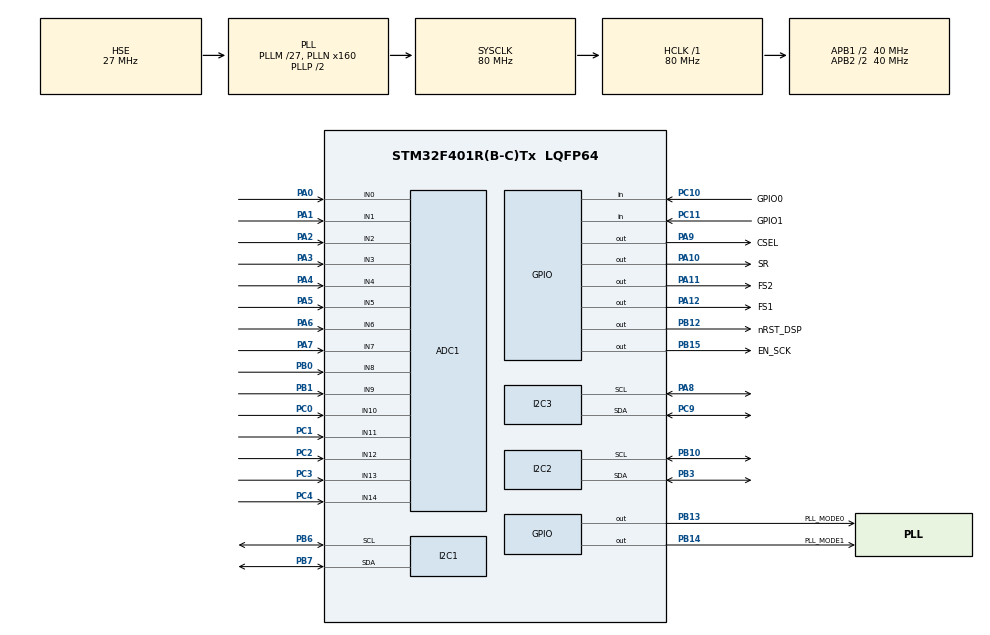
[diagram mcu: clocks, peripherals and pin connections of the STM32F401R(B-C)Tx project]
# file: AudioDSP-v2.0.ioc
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ADC1.Channel-0\#ChannelRegularConversion=ADC_CHANNEL_0
ADC1.Channel-1\#ChannelRegularConversion=ADC_CHANNEL_1
ADC1.Channel-10\#ChannelRegularConversion=ADC_CHANNEL_10
ADC1.Channel-11\#ChannelRegularConversion=ADC_CHANNEL_11
ADC1.Channel-12\#ChannelRegularConversion=ADC_CHANNEL_12
ADC1.Channel-13\#ChannelRegularConversion=ADC_CHANNEL_13
ADC1.Channel-14\#ChannelRegularConversion=ADC_CHANNEL_14
ADC1.Channel-2\#ChannelRegularConversion=ADC_CHANNEL_2
ADC1.Channel-3\#ChannelRegularConversion=ADC_CHANNEL_3
ADC1.Channel-4\#ChannelRegularConversion=ADC_CHANNEL_4
ADC1.Channel-5\#ChannelRegularConversion=ADC_CHANNEL_5
ADC1.Channel-6\#ChannelRegularConversion=ADC_CHANNEL_6
ADC1.Channel-7\#ChannelRegularConversion=ADC_CHANNEL_7
ADC1.Channel-8\#ChannelRegularConversion=ADC_CHANNEL_8
ADC1.Channel-9\#ChannelRegularConversion=ADC_CHANNEL_9
ADC1.EOCSelection=ADC_EOC_SEQ_CONV
ADC1.ExternalTrigConv=ADC_EXTERNALTRIGCONV_T2_TRGO
ADC1.NbrOfConversion=15
ADC1.NbrOfConversionFlag=1
ADC1.Rank-0\#ChannelRegularConversion=1
ADC1.Rank-1\#ChannelRegularConversion=2
ADC1.Rank-10\#ChannelRegularConversion=11
ADC1.Rank-11\#ChannelRegularConversion=12
ADC1.Rank-12\#ChannelRegularConversion=13
ADC1.Rank-13\#ChannelRegularConversion=14
ADC1.Rank-14\#ChannelRegularConversion=15
ADC1.Rank-2\#ChannelRegularConversion=3
ADC1.Rank-3\#ChannelRegularConversion=4
ADC1.Rank-4\#ChannelRegularConversion=5
ADC1.Rank-5\#ChannelRegularConversion=6
ADC1.Rank-6\#ChannelRegularConversion=7
ADC1.Rank-7\#ChannelRegularConversion=8
ADC1.Rank-8\#ChannelRegularConversion=9
ADC1.Rank-9\#ChannelRegularConversion=10
ADC1.SamplingTime-0\#ChannelRegularConversion=ADC_SAMPLETIME_15CYCLES
ADC1.SamplingTime-1\#ChannelRegularConversion=ADC_SAMPLETIME_15CYCLES
ADC1.SamplingTime-10\#ChannelRegularConversion=ADC_SAMPLETIME_15CYCLES
ADC1.SamplingTime-11\#ChannelRegularConversion=ADC_SAMPLETIME_15CYCLES
ADC1.SamplingTime-12\#ChannelRegularConversion=ADC_SAMPLETIME_15CYCLES
ADC1.SamplingTime-13\#ChannelRegularConversion=ADC_SAMPLETIME_15CYCLES
ADC1.SamplingTime-14\#ChannelRegularConversion=ADC_SAMPLETIME_15CYCLES
ADC1.SamplingTime-2\#ChannelRegularConversion=ADC_SAMPLETIME_15CYCLES
ADC1.SamplingTime-3\#ChannelRegularConversion=ADC_SAMPLETIME_15CYCLES
ADC1.SamplingTime-4\#ChannelRegularConversion=ADC_SAMPLETIME_15CYCLES
ADC1.SamplingTime-5\#ChannelRegularConversion=ADC_SAMPLETIME_15CYCLES
ADC1.SamplingTime-6\#ChannelRegularConversion=ADC_SAMPLETIME_15CYCLES
ADC1.SamplingTime-7\#ChannelRegularConversion=ADC_SAMPLETIME_15CYCLES
ADC1.SamplingTime-8\#ChannelRegularConversion=ADC_SAMPLETIME_15CYCLES
ADC1.SamplingTime-9\#ChannelRegularConversion=ADC_SAMPLETIME_15CYCLES
ADC1.ScanConvMode=ENABLE
ADC1.master=1
Dma.ADC1.0.Direction=DMA_PERIPH_TO_MEMORY
Dma.ADC1.0.FIFOMode=DMA_FIFOMODE_DISABLE
Dma.ADC1.0.Instance=DMA2_Stream0
Dma.ADC1.0.MemDataAlignment=DMA_MDATAALIGN_WORD
Dma.ADC1.0.MemInc=DMA_MINC_ENABLE
Dma.ADC1.0.Mode=DMA_CIRCULAR
Dma.ADC1.0.PeriphDataAlignment=DMA_PDATAALIGN_WORD
Dma.ADC1.0.PeriphInc=DMA_PINC_DISABLE
Dma.ADC1.0.Priority=DMA_PRIORITY_LOW
Dma.Request0=ADC1
I2C1.I2C_Mode=I2C_Fast
I2C2.I2C_Mode=I2C_Fast
Mcu.Family=STM32F4
Mcu.Name=STM32F401R(B-C)Tx
Mcu.Package=LQFP64
NVIC.DMA2_Stream0_IRQn=true\:0\:0\:false\:false\:true\:false\:true
NVIC.PriorityGroup=NVIC_PRIORITYGROUP_4
PA0-WKUP.Signal=ADCx_IN0
PA1.Signal=ADCx_IN1
PA10.GPIO_Label=SR
PA10.GPIO_ModeDefaultOutputPP=GPIO_MODE_OUTPUT_OD
PA10.GPIO_PuPd=GPIO_PULLUP
PA10.GPIO_Speed=GPIO_SPEED_FREQ_HIGH
PA10.Signal=GPIO_Output
PA11.GPIO_Label=FS2
PA11.GPIO_ModeDefaultOutputPP=GPIO_MODE_OUTPUT_OD
PA11.GPIO_PuPd=GPIO_PULLUP
PA11.GPIO_Speed=GPIO_SPEED_FREQ_HIGH
PA11.Signal=GPIO_Output
PA12.GPIO_Label=FS1
PA12.GPIO_ModeDefaultOutputPP=GPIO_MODE_OUTPUT_OD
PA12.GPIO_PuPd=GPIO_PULLUP
PA12.GPIO_Speed=GPIO_SPEED_FREQ_HIGH
PA12.Signal=GPIO_Output
PA13.GPIO_Label=SWDIO
PA13.Mode=Serial_Wire
PA13.Signal=SYS_JTMS-SWDIO
PA14.GPIO_Label=SWCLK
PA14.Mode=Serial_Wire
PA14.Signal=SYS_JTCK-SWCLK
PA2.Signal=ADCx_IN2
PA3.Signal=ADCx_IN3
PA4.Signal=ADCx_IN4
PA5.Signal=ADCx_IN5
PA6.Signal=ADCx_IN6
PA7.Signal=ADCx_IN7
PA8.Mode=I2C
PA8.Signal=I2C3_SCL
PA9.GPIO_Label=CSEL
PA9.GPIO_ModeDefaultOutputPP=GPIO_MODE_OUTPUT_OD
PA9.GPIO_PuPd=GPIO_PULLUP
PA9.GPIO_Speed=GPIO_SPEED_FREQ_HIGH
PA9.Signal=GPIO_Output
PB0.Signal=ADCx_IN8
PB1.Signal=ADCx_IN9
PB10.Mode=I2C
PB10.Signal=I2C2_SCL
PB12.GPIO_Label=nRST_DSP
PB12.GPIO_ModeDefaultOutputPP=GPIO_MODE_OUTPUT_OD
PB12.GPIO_PuPd=GPIO_PULLUP
PB12.GPIO_Speed=GPIO_SPEED_FREQ_HIGH
PB12.PinState=GPIO_PIN_SET
PB12.Signal=GPIO_Output
PB13.GPIO_Label=PLL_MODE0
PB13.GPIO_ModeDefaultOutputPP=GPIO_MODE_OUTPUT_OD
PB13.GPIO_PuPd=GPIO_PULLUP
PB13.GPIO_Speed=GPIO_SPEED_FREQ_HIGH
PB13.Signal=GPIO_Output
PB14.GPIO_Label=PLL_MODE1
PB14.GPIO_ModeDefaultOutputPP=GPIO_MODE_OUTPUT_OD
PB14.GPIO_PuPd=GPIO_PULLUP
PB14.GPIO_Speed=GPIO_SPEED_FREQ_HIGH
PB14.PinState=GPIO_PIN_RESET
PB14.Signal=GPIO_Output
PB15.GPIO_Label=EN_SCK
PB15.GPIO_ModeDefaultOutputPP=GPIO_MODE_OUTPUT_OD
PB15.GPIO_PuPd=GPIO_PULLUP
PB15.GPIO_Speed=GPIO_SPEED_FREQ_HIGH
PB15.Signal=GPIO_Output
PB3.Mode=I2C
PB3.Signal=I2C2_SDA
PB6.Mode=I2C
PB6.Signal=I2C1_SCL
PB7.Mode=I2C
PB7.Signal=I2C1_SDA
PC0.Signal=ADCx_IN10
PC1.Signal=ADCx_IN11
PC10.GPIO_Label=GPIO0
PC10.GPIO_PuPd=GPIO_PULLUP
PC10.Signal=GPIO_Input
PC11.GPIO_Label=GPIO1
PC11.GPIO_PuPd=GPIO_PULLUP
PC11.Signal=GPIO_Input
PC2.Signal=ADCx_IN12
PC3.Signal=ADCx_IN13
PC4.Signal=ADCx_IN14
PC9.Mode=I2C
PC9.Signal=I2C3_SDA
PH0\ -\ OSC_IN.GPIO_Label=CLK_IN
PH0\ -\ OSC_IN.Mode=HSE-External-Clock-Source
PH0\ -\ OSC_IN.Signal=RCC_OSC_IN
PH1\ -\ OSC_OUT.Mode=HSE-External-Clock-Source
PH1\ -\ OSC_OUT.Signal=RCC_OSC_OUT
ProjectManager.HeapSize=0x200
ProjectManager.StackSize=0x400
ProjectManager.TargetToolchain=STM32CubeIDE
RCC.48MHZClocksFreq_Value=40000000
RCC.AHBFreq_Value=80000000
RCC.APB1CLKDivider=RCC_HCLK_DIV2
RCC.APB1Freq_Value=40000000
RCC.APB1TimFreq_Value=80000000
RCC.APB2CLKDivider=RCC_HCLK_DIV2
RCC.APB2Freq_Value=40000000
RCC.APB2TimFreq_Value=80000000
RCC.CortexFreq_Value=80000000
RCC.HCLKFreq_Value=80000000
RCC.HSE_VALUE=27000000
RCC.HSI_VALUE=16000000
RCC.LSE_VALUE=32768
RCC.PLLM=27
RCC.PLLN=160
RCC.PLLSourceVirtual=RCC_PLLSOURCE_HSE
RCC.SYSCLKFreq_VALUE=80000000
RCC.SYSCLKSource=RCC_SYSCLKSOURCE_PLLCLK
RCC.VCOOutputFreq_Value=160000000
SH.ADCx_IN0.0=ADC1_IN0,IN0
SH.ADCx_IN1.0=ADC1_IN1,IN1
SH.ADCx_IN10.0=ADC1_IN10,IN10
SH.ADCx_IN11.0=ADC1_IN11,IN11
SH.ADCx_IN12.0=ADC1_IN12,IN12
SH.ADCx_IN13.0=ADC1_IN13,IN13
SH.ADCx_IN14.0=ADC1_IN14,IN14
SH.ADCx_IN2.0=ADC1_IN2,IN2
SH.ADCx_IN3.0=ADC1_IN3,IN3
SH.ADCx_IN4.0=ADC1_IN4,IN4
SH.ADCx_IN5.0=ADC1_IN5,IN5
SH.ADCx_IN6.0=ADC1_IN6,IN6
SH.ADCx_IN7.0=ADC1_IN7,IN7
SH.ADCx_IN8.0=ADC1_IN8,IN8
SH.ADCx_IN9.0=ADC1_IN9,IN9
TIM2.Period=1000-1
TIM2.Prescaler=8000
TIM2.TIM_MasterOutputTrigger=TIM_TRGO_UPDATE
VP_TIM2_VS_ClockSourceINT.Mode=Internal
board=custom

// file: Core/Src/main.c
/* USER CODE BEGIN Header */
/**
  ******************************************************************************
  * @file           : main.c
  * @brief          : Main program body
  ******************************************************************************
  * @attention
  *
  * <h2><center>&copy; Copyright (c) 2023 STMicroelectronics.
  * All rights reserved.</center></h2>
  *
  * This software component is licensed by ST under BSD 3-Clause license,
  * the "License"; You may not use this file except in compliance with the
  * License. You may obtain a copy of the License at:
  *                        opensource.org/licenses/BSD-3-Clause
  *
  ******************************************************************************
  */
/* USER CODE END Header */
#include "main.h"

/* USER CODE BEGIN Includes */
#include "DSP/SigmaStudioFW.h"

#include "DSP/DSP1/DSP1_IC_1.h"
#include "DSP/DSP1/DSP1_IC_1_PARAM.h"

#include "DSP/DSP2/DSP2_IC_2.h"
#include "DSP/DSP2/DSP2_IC_2_PARAM.h"

#include "math.h"
/* USER CODE END Includes */

/* USER CODE BEGIN PD */
#define ADC_POT 12
#define DAC_ADDR 0x98
/* USER CODE END PD */

ADC_HandleTypeDef hadc1;
DMA_HandleTypeDef hdma_adc1;

I2C_HandleTypeDef hi2c1;
I2C_HandleTypeDef hi2c2;
I2C_HandleTypeDef hi2c3;

TIM_HandleTypeDef htim2;

/* USER CODE BEGIN PV */
HAL_StatusTypeDef stat;

uint8_t auxData[2];

uint32_t value[ADC_POT]; // To store ADC values
uint16_t pote[ADC_POT];  // Potentiometer values 0-29
uint16_t log_in_table[30];
uint16_t linear_in_table[30];
uint16_t flag[ADC_POT];  // Flag for different potentiometers

ADI_REG_TYPE aux[4];
/* USER CODE END PV */

void SystemClock_Config(void);
static void MX_GPIO_Init(void);
static void MX_I2C1_Init(void);
static void MX_I2C2_Init(void);
static void MX_I2C3_Init(void);
static void MX_ADC1_Init(void);
static void MX_DMA_Init(void);
static void MX_TIM2_Init(void);
/* USER CODE BEGIN PFP */
void HAL_ADC_ConvCpltCallback(ADC_HandleTypeDef* hadc);
/* USER CODE END PFP */

int main(void)
{
  /* USER CODE BEGIN 1 */
	  uint16_t k = 0;
	  uint16_t pote_aux = 0;
	  uint16_t BandAddress[ADC_POT+1]; // Addresses of filters
	  uint32_t vol_data[30]; // Fixed volume values
	  uint32_t boost_data[30]; // Fixed boost loudness values

	  BandAddress[0] = MOD_BAND32_SEL_DCINPALG1_ADDR;
	  BandAddress[1] = MOD_BAND64_SEL_DCINPALG6_ADDR;
	  BandAddress[2] = MOD_BAND128_SEL_DCINPALG4_ADDR;
	  BandAddress[3] = MOD_BAND256_SEL_DCINPALG2_ADDR;
	  BandAddress[4] = MOD_LOUDNESSLHEXT1_ALG0_LEVEL0_ADDR;
	  BandAddress[5] = MOD_LOUDNESSLHEXT1_ALG0_LEVEL1_ADDR;
	  BandAddress[6] = MOD_BAND2K_SEL_DCINPALG6_ADDR;
	  BandAddress[7] = MOD_BAND4K_SEL_DCINPALG4_ADDR;
	  BandAddress[8] = MOD_BAND8K_SEL_DCINPALG2_ADDR;
	  BandAddress[9] = MOD_LOUD_DCINPALG5_ADDR;
	  BandAddress[10] = MOD_BANDSUB_SEL_DCINPALG3_ADDR;
	  BandAddress[11] = MOD_VOL_ALG0_TARGET_ADDR;

	  vol_data[29] = 0x00800000; // 0dB
	  vol_data[28] = 0x00721482; // -1dB
	  vol_data[27] = 0x0065AC8C; // -2dB
	  vol_data[26] = 0x005A9DF7; // -3dB
	  vol_data[25] = 0x0050C335; // -4dB
	  vol_data[24] = 0x0047FACC; // -5dB
	  vol_data[23] = 0x004026E7; // -6dB
	  vol_data[22] = 0x0037DFC0; // -7dB (-7.2dB)
	  vol_data[21] = 0x0032F52C; // -8dB
	  vol_data[20] = 0x002D6A86; // -9dB
	  vol_data[19] = 0x00287A26; // -10dB
	  vol_data[18] = 0x00241346; // -11dB
	  vol_data[17] = 0x002026F3; // -12dB
	  vol_data[16] = 0x001CA7D7; // -13dB
	  vol_data[15] = 0x00198A13; // -14dB
	  vol_data[14] = 0x0016C310; // -15dB
	  vol_data[13] = 0x00144960; // -16dB
	  vol_data[12] = 0x0012149A; // -17dB
	  vol_data[11] = 0x00101D3F; // -18dB
	  vol_data[10] = 0x000E5CA1; // -19dB
	  vol_data[9] = 0x000CCCCC; // -20dB
	  vol_data[8] = 0x000B6873; // -21dB
	  vol_data[7] = 0x000A2ADA; // -22dB
	  vol_data[6] = 0x00090FCB; // -23dB
	  vol_data[5] = 0x00081385; // -24dB
	  vol_data[4] = 0x000732AE; // -25dB
	  vol_data[3] = 0x00066A4A; // -26dB
	  vol_data[2] = 0x0005B7B1; // -27dB
	  vol_data[1] = 0x00051884; // -28dB
	  vol_data[0] = 0x00048AA7; // -29dB

	  boost_data[29] = 0x01400000; // 2.50
	  boost_data[28] = 0x01333333; // 2.40
	  boost_data[27] = 0x012B851E; // 2.34
	  boost_data[26] = 0x01228F5C; // 2.27
	  boost_data[25] = 0x01199999; // 2.20
	  boost_data[24] = 0x0110A3D7; // 2.13
	  boost_data[23] = 0x0107AE14; // 2.06
	  boost_data[22] = 0x01000000; // 2.00
	  boost_data[21] = 0x00F70A3D; // 1.93
	  boost_data[20] = 0x00EE147A; // 1.86
	  boost_data[19] = 0x00E51EB8; // 1.79
	  boost_data[18] = 0x00DC28F5; // 1.72
	  boost_data[17] = 0x00D47AE1; // 1.66
	  boost_data[16] = 0x00CB851E; // 1.59
	  boost_data[15] = 0x00C28F5C; // 1.52
	  boost_data[14] = 0x00B99999; // 1.45
	  boost_data[13] = 0x00B0A3D7; // 1.38
	  boost_data[12] = 0x00A8F5C2; // 1.32
	  boost_data[11] = 0x00A00000; // 1.25
	  boost_data[10] = 0x00970A3D; // 1.18
	  boost_data[9] =  0x008E147A; // 1.11
	  boost_data[8] =  0x00851EB8; // 1.04
	  boost_data[7] =  0x007D70A3; // 0.98
	  boost_data[6] =  0x00747AE1; // 0.91
	  boost_data[5] =  0x006B851E; // 0.84
	  boost_data[4] =  0x00628F5C; // 0.77
	  boost_data[3] =  0x00599999; // 0.70
	  boost_data[2] =  0x0051EB85; // 0.64
	  boost_data[1] =  0x0048F5C2; // 0.57
	  boost_data[0] =  0x00400000; // 0.50

	  for(k=0; k<30; k++)
	  {
		  log_in_table[k] = 4096.0*log10(1.0+(3.0*k/10.0));
		  linear_in_table[k] = 4096*k/30;
	  }
  /* USER CODE END 1 */

  /* MCU Configuration--------------------------------------------------------*/

  /* Reset of all peripherals, Initializes the Flash interface and the Systick. */
  HAL_Init();

  /* Configure the system clock */
  SystemClock_Config();

  /* USER CODE BEGIN SysInit */
//  - Keeping this just to remember order
//  MX_GPIO_Init();
//  MX_I2C1_Init();
//  MX_DMA_Init();
//  MX_I2C2_Init();
//  MX_ADC1_Init();
//  MX_I2C3_Init();
//  MX_TIM2_Init();
  /* USER CODE END SysInit */

  /* Initialize all configured peripherals */
  MX_GPIO_Init();
  MX_I2C1_Init();
  MX_I2C2_Init();
  MX_I2C3_Init();

  MX_DMA_Init();
  MX_ADC1_Init();

  MX_TIM2_Init();
  /* USER CODE BEGIN 2 */

  // Disable DSP
  HAL_GPIO_WritePin(nRST_DSP_GPIO_Port, nRST_DSP_Pin, GPIO_PIN_RESET);

  // Disable CLK
  HAL_GPIO_WritePin(EN_SCK_GPIO_Port, EN_SCK_Pin, GPIO_PIN_RESET);

  // Configure Sampling Rate SR = Standard => 0
  HAL_GPIO_WritePin(SR_GPIO_Port, SR_Pin, GPIO_PIN_RESET);
  // Configure System Clock SCKO1 CSEL = 0 (default)
  HAL_GPIO_WritePin(CSEL_GPIO_Port, CSEL_Pin, GPIO_PIN_RESET);
  // Configure Sampling Frequency Group = 32KHz => 10
  HAL_GPIO_WritePin(FS2_GPIO_Port, FS2_Pin, GPIO_PIN_SET);
  HAL_GPIO_WritePin(FS1_GPIO_Port, FS1_Pin, GPIO_PIN_RESET);

  // Configure PLL Mode
  // 256 x 48KHz = 12.288MHz => 01
  HAL_GPIO_WritePin(PLL_MODE0_GPIO_Port, PLL_MODE0_Pin, GPIO_PIN_RESET);
  HAL_GPIO_WritePin(PLL_MODE1_GPIO_Port, PLL_MODE1_Pin, GPIO_PIN_SET);

  // Enable CLK
  HAL_GPIO_WritePin(EN_SCK_GPIO_Port, EN_SCK_Pin, GPIO_PIN_SET);

  HAL_Delay(500);

  // Configure DAC format to I2S 16-24 bit
  auxData[0] = 0x24;
  auxData[1] = 0x00;
  stat = HAL_I2C_Mem_Write(&hi2c3, DAC_ADDR, 0x09, 1, auxData, 1, 1000);

  // Enable DSP
  HAL_GPIO_WritePin(nRST_DSP_GPIO_Port, nRST_DSP_Pin, GPIO_PIN_SET);

  HAL_Delay(500);

  default_download_IC_1();
  HAL_Delay(500);
  default_download_IC_2();
  HAL_Delay(500);

  HAL_TIM_Base_Start(&htim2);
  HAL_ADC_Start_DMA(&hadc1, value, ADC_POT);

  HAL_Delay(250);

  for(k=0; k<ADC_POT; k++)
  {
	  pote[k] = 14;
	  flag[k] = 1;
  }
  aux[0] = 0x00;
  aux[1] = 0x00;
  aux[2] = 0x00;
  aux[3] = 0x00;

  for(k=0; k<4; k++) // Filters 32Hz - 512Hz
  {
	  SIGMA_WRITE_REGISTER_BLOCK(DEVICE_ADDR_IC_1, BandAddress[k], 4, aux);
  }
  for(k=6; k<(ADC_POT-3); k++) // Filters 1KHz - 16KHz
  {
      SIGMA_WRITE_REGISTER_BLOCK(DEVICE_ADDR_IC_2, BandAddress[k], 4, aux);
  }
  SIGMA_WRITE_REGISTER_BLOCK(DEVICE_ADDR_IC_1, BandAddress[ADC_POT-2], 4, aux); // Subwoofer
  SIGMA_WRITE_REGISTER_BLOCK(DEVICE_ADDR_IC_1, BandAddress[ADC_POT-1], 4, aux); // Volume

  HAL_Delay(250);
  /* USER CODE END 2 */

  /* Infinite loop */
  while (1)
  {

    /* USER CODE BEGIN 3 */
	  aux[0] = 0x00;
	  aux[1] = 0x00;
	  aux[2] = 0x00;

	  for(k=0; k<4; k++) // Filters 32Hz - 512Hz
	  {
		  if(flag[k] == 1)
		  {
			  flag[k] = 0;
			  aux[3] = 29 - pote[k];
			  SIGMA_WRITE_REGISTER_BLOCK(DEVICE_ADDR_IC_1, BandAddress[k], 4, aux);
		  }
	  }

	  aux[0] = 0x00;
	  aux[1] = 0x00;
	  aux[2] = 0x00;

	  for(k=6; k<(ADC_POT-3); k++) // Filters 1KHz - 16KHz
	  {
		  if(flag[k] == 1)
		  {
			  flag[k] = 0;
			  aux[3] = 29 - pote[k];
			  SIGMA_WRITE_REGISTER_BLOCK(DEVICE_ADDR_IC_2, BandAddress[k], 4, aux);
		  }
	  }

	  aux[0] = 0x00;
	  aux[1] = 0x00;
	  aux[2] = 0x00;

	  if(flag[ADC_POT-2] == 1) // Subwoofer
	  {
		  flag[ADC_POT-2] = 0;
		  aux[3] = 29 - pote[ADC_POT-2];
		  SIGMA_WRITE_REGISTER_BLOCK(DEVICE_ADDR_IC_1, BandAddress[ADC_POT-2], 4, aux);
	  }

	  aux[0] = 0x00;
	  aux[1] = 0x00;
	  aux[2] = 0x00;

	  if(flag[ADC_POT-1] == 1) // Volume
	  {
		  flag[ADC_POT-1] = 0;
		  pote_aux = 29 - pote[ADC_POT-1];
		  aux[3] = 0xFF & (vol_data[pote_aux]);
		  aux[2] = 0xFF & ((vol_data[pote_aux])>>8);
		  aux[1] = 0xFF & ((vol_data[pote_aux])>>16);
		  aux[0] = 0xFF & ((vol_data[pote_aux])>>24);
		  SIGMA_WRITE_REGISTER_BLOCK(DEVICE_ADDR_IC_1, BandAddress[ADC_POT-1], 4, aux);
	  }

	  if(flag[4] == 1) // Loudness Low Boost
	  {
		  flag[4] = 0;
		  pote_aux = 29 - pote[4];
		  aux[3] = 0xFF & (boost_data[pote_aux]);
		  aux[2] = 0xFF & ((boost_data[pote_aux])>>8);
		  aux[1] = 0xFF & ((boost_data[pote_aux])>>16);
		  aux[0] = 0xFF & ((boost_data[pote_aux])>>24);
		  SIGMA_WRITE_REGISTER_BLOCK(DEVICE_ADDR_IC_2, BandAddress[4], 4, aux);
	  }

	  if(flag[5] == 1) // Loudness High Boost
	  {
		  flag[5] = 0;
		  pote_aux = 29 - pote[5];
		  aux[3] = 0xFF & (boost_data[pote_aux]);
		  aux[2] = 0xFF & ((boost_data[pote_aux])>>8);
		  aux[1] = 0xFF & ((boost_data[pote_aux])>>16);
		  aux[0] = 0xFF & ((boost_data[pote_aux])>>24);
		  SIGMA_WRITE_REGISTER_BLOCK(DEVICE_ADDR_IC_2, BandAddress[5], 4, aux);
	  }

	  if(flag[9] == 1) // Loudness
	  {
		  flag[9] = 0;
		  pote_aux = 29 - pote[9];
		  aux[3] = 0xFF & (vol_data[pote_aux]);
		  aux[2] = 0xFF & ((vol_data[pote_aux])>>8);
		  aux[1] = 0xFF & ((vol_data[pote_aux])>>16);
		  aux[0] = 0xFF & ((vol_data[pote_aux])>>24);
		  SIGMA_WRITE_REGISTER_BLOCK(DEVICE_ADDR_IC_2, BandAddress[9], 4, aux);
	  }

  }
  /* USER CODE END 3 */
}

void SystemClock_Config(void)
{
  RCC_OscInitTypeDef RCC_OscInitStruct = {0};
  RCC_ClkInitTypeDef RCC_ClkInitStruct = {0};

  /** Configure the main internal regulator output voltage
  */
  __HAL_RCC_PWR_CLK_ENABLE();
  __HAL_PWR_VOLTAGESCALING_CONFIG(PWR_REGULATOR_VOLTAGE_SCALE2);
  /** Initializes the RCC Oscillators according to the specified parameters
  * in the RCC_OscInitTypeDef structure.
  */
  RCC_OscInitStruct.OscillatorType = RCC_OSCILLATORTYPE_HSE;
  RCC_OscInitStruct.HSEState = RCC_HSE_BYPASS;
  RCC_OscInitStruct.PLL.PLLState = RCC_PLL_ON;
  RCC_OscInitStruct.PLL.PLLSource = RCC_PLLSOURCE_HSE;
  RCC_OscInitStruct.PLL.PLLM = 27;
  RCC_OscInitStruct.PLL.PLLN = 160;
  RCC_OscInitStruct.PLL.PLLP = RCC_PLLP_DIV2;
  RCC_OscInitStruct.PLL.PLLQ = 4;
  if (HAL_RCC_OscConfig(&RCC_OscInitStruct) != HAL_OK)
  {
    Error_Handler();
  }
  /** Initializes the CPU, AHB and APB buses clocks
  */
  RCC_ClkInitStruct.ClockType = RCC_CLOCKTYPE_HCLK|RCC_CLOCKTYPE_SYSCLK
                              |RCC_CLOCKTYPE_PCLK1|RCC_CLOCKTYPE_PCLK2;
  RCC_ClkInitStruct.SYSCLKSource = RCC_SYSCLKSOURCE_PLLCLK;
  RCC_ClkInitStruct.AHBCLKDivider = RCC_SYSCLK_DIV1;
  RCC_ClkInitStruct.APB1CLKDivider = RCC_HCLK_DIV2;
  RCC_ClkInitStruct.APB2CLKDivider = RCC_HCLK_DIV2;

  if (HAL_RCC_ClockConfig(&RCC_ClkInitStruct, FLASH_LATENCY_2) != HAL_OK)
  {
    Error_Handler();
  }
}

static void MX_ADC1_Init(void)
{

  ADC_ChannelConfTypeDef sConfig = {0};

  /** Configure the global features of the ADC (Clock, Resolution, Data Alignment and number of conversion)
  */
  hadc1.Instance = ADC1;
  hadc1.Init.ClockPrescaler = ADC_CLOCK_SYNC_PCLK_DIV2;
  hadc1.Init.Resolution = ADC_RESOLUTION_12B;
  hadc1.Init.ScanConvMode = ENABLE;
  hadc1.Init.ContinuousConvMode = DISABLE;
  hadc1.Init.DiscontinuousConvMode = DISABLE;
  hadc1.Init.ExternalTrigConvEdge = ADC_EXTERNALTRIGCONVEDGE_RISING;
  hadc1.Init.ExternalTrigConv = ADC_EXTERNALTRIGCONV_T2_TRGO;
  hadc1.Init.DataAlign = ADC_DATAALIGN_RIGHT;
  hadc1.Init.NbrOfConversion = 15;
  hadc1.Init.DMAContinuousRequests = DISABLE;
  hadc1.Init.EOCSelection = ADC_EOC_SEQ_CONV;
  if (HAL_ADC_Init(&hadc1) != HAL_OK)
  {
    Error_Handler();
  }
  /** Configure for the selected ADC regular channel its corresponding rank in the sequencer and its sample time.
  */
  sConfig.Channel = ADC_CHANNEL_0;
  sConfig.Rank = 1;
  sConfig.SamplingTime = ADC_SAMPLETIME_15CYCLES;
  if (HAL_ADC_ConfigChannel(&hadc1, &sConfig) != HAL_OK)
  {
    Error_Handler();
  }
  /** Configure for the selected ADC regular channel its corresponding rank in the sequencer and its sample time.
  */
  sConfig.Channel = ADC_CHANNEL_1;
  sConfig.Rank = 2;
  if (HAL_ADC_ConfigChannel(&hadc1, &sConfig) != HAL_OK)
  {
    Error_Handler();
  }
  /** Configure for the selected ADC regular channel its corresponding rank in the sequencer and its sample time.
  */
  sConfig.Channel = ADC_CHANNEL_2;
  sConfig.Rank = 3;
  if (HAL_ADC_ConfigChannel(&hadc1, &sConfig) != HAL_OK)
  {
    Error_Handler();
  }
  /** Configure for the selected ADC regular channel its corresponding rank in the sequencer and its sample time.
  */
  sConfig.Channel = ADC_CHANNEL_3;
  sConfig.Rank = 4;
  if (HAL_ADC_ConfigChannel(&hadc1, &sConfig) != HAL_OK)
  {
    Error_Handler();
  }
  /** Configure for the selected ADC regular channel its corresponding rank in the sequencer and its sample time.
  */
  sConfig.Channel = ADC_CHANNEL_4;
  sConfig.Rank = 5;
  if (HAL_ADC_ConfigChannel(&hadc1, &sConfig) != HAL_OK)
  {
    Error_Handler();
  }
  /** Configure for the selected ADC regular channel its corresponding rank in the sequencer and its sample time.
  */
  sConfig.Channel = ADC_CHANNEL_5;
  sConfig.Rank = 6;
  if (HAL_ADC_ConfigChannel(&hadc1, &sConfig) != HAL_OK)
  {
    Error_Handler();
  }
  /** Configure for the selected ADC regular channel its corresponding rank in the sequencer and its sample time.
  */
  sConfig.Channel = ADC_CHANNEL_6;
  sConfig.Rank = 7;
  if (HAL_ADC_ConfigChannel(&hadc1, &sConfig) != HAL_OK)
  {
    Error_Handler();
  }
  /** Configure for the selected ADC regular channel its corresponding rank in the sequencer and its sample time.
  */
  sConfig.Channel = ADC_CHANNEL_7;
  sConfig.Rank = 8;
  if (HAL_ADC_ConfigChannel(&hadc1, &sConfig) != HAL_OK)
  {
    Error_Handler();
  }
  /** Configure for the selected ADC regular channel its corresponding rank in the sequencer and its sample time.
  */
  sConfig.Channel = ADC_CHANNEL_8;
  sConfig.Rank = 9;
  if (HAL_ADC_ConfigChannel(&hadc1, &sConfig) != HAL_OK)
  {
    Error_Handler();
  }
  /** Configure for the selected ADC regular channel its corresponding rank in the sequencer and its sample time.
  */
  sConfig.Channel = ADC_CHANNEL_9;
  sConfig.Rank = 10;
  if (HAL_ADC_ConfigChannel(&hadc1, &sConfig) != HAL_OK)
  {
    Error_Handler();
  }
  /** Configure for the selected ADC regular channel its corresponding rank in the sequencer and its sample time.
  */
  sConfig.Channel = ADC_CHANNEL_10;
  sConfig.Rank = 11;
  if (HAL_ADC_ConfigChannel(&hadc1, &sConfig) != HAL_OK)
  {
    Error_Handler();
  }
  /** Configure for the selected ADC regular channel its corresponding rank in the sequencer and its sample time.
  */
  sConfig.Channel = ADC_CHANNEL_11;
  sConfig.Rank = 12;
  if (HAL_ADC_ConfigChannel(&hadc1, &sConfig) != HAL_OK)
  {
    Error_Handler();
  }
  /** Configure for the selected ADC regular channel its corresponding rank in the sequencer and its sample time.
  */
  sConfig.Channel = ADC_CHANNEL_12;
  sConfig.Rank = 13;
  if (HAL_ADC_ConfigChannel(&hadc1, &sConfig) != HAL_OK)
  {
    Error_Handler();
  }
  /** Configure for the selected ADC regular channel its corresponding rank in the sequencer and its sample time.
  */
  sConfig.Channel = ADC_CHANNEL_13;
  sConfig.Rank = 14;
  if (HAL_ADC_ConfigChannel(&hadc1, &sConfig) != HAL_OK)
  {
    Error_Handler();
  }
  /** Configure for the selected ADC regular channel its corresponding rank in the sequencer and its sample time.
  */
  sConfig.Channel = ADC_CHANNEL_14;
  sConfig.Rank = 15;
  if (HAL_ADC_ConfigChannel(&hadc1, &sConfig) != HAL_OK)
  {
    Error_Handler();
  }

}

static void MX_I2C1_Init(void)
{

  hi2c1.Instance = I2C1;
  hi2c1.Init.ClockSpeed = 400000;
  hi2c1.Init.DutyCycle = I2C_DUTYCYCLE_2;
  hi2c1.Init.OwnAddress1 = 0;
  hi2c1.Init.AddressingMode = I2C_ADDRESSINGMODE_7BIT;
  hi2c1.Init.DualAddressMode = I2C_DUALADDRESS_DISABLE;
  hi2c1.Init.OwnAddress2 = 0;
  hi2c1.Init.GeneralCallMode = I2C_GENERALCALL_DISABLE;
  hi2c1.Init.NoStretchMode = I2C_NOSTRETCH_DISABLE;
  if (HAL_I2C_Init(&hi2c1) != HAL_OK)
  {
    Error_Handler();
  }

}

static void MX_I2C2_Init(void)
{

  hi2c2.Instance = I2C2;
  hi2c2.Init.ClockSpeed = 400000;
  hi2c2.Init.DutyCycle = I2C_DUTYCYCLE_2;
  hi2c2.Init.OwnAddress1 = 0;
  hi2c2.Init.AddressingMode = I2C_ADDRESSINGMODE_7BIT;
  hi2c2.Init.DualAddressMode = I2C_DUALADDRESS_DISABLE;
  hi2c2.Init.OwnAddress2 = 0;
  hi2c2.Init.GeneralCallMode = I2C_GENERALCALL_DISABLE;
  hi2c2.Init.NoStretchMode = I2C_NOSTRETCH_DISABLE;
  if (HAL_I2C_Init(&hi2c2) != HAL_OK)
  {
    Error_Handler();
  }

}

static void MX_I2C3_Init(void)
{

  hi2c3.Instance = I2C3;
  hi2c3.Init.ClockSpeed = 100000;
  hi2c3.Init.DutyCycle = I2C_DUTYCYCLE_2;
  hi2c3.Init.OwnAddress1 = 0;
  hi2c3.Init.AddressingMode = I2C_ADDRESSINGMODE_7BIT;
  hi2c3.Init.DualAddressMode = I2C_DUALADDRESS_DISABLE;
  hi2c3.Init.OwnAddress2 = 0;
  hi2c3.Init.GeneralCallMode = I2C_GENERALCALL_DISABLE;
  hi2c3.Init.NoStretchMode = I2C_NOSTRETCH_DISABLE;
  if (HAL_I2C_Init(&hi2c3) != HAL_OK)
  {
    Error_Handler();
  }

}

static void MX_TIM2_Init(void)
{

  TIM_ClockConfigTypeDef sClockSourceConfig = {0};
  TIM_MasterConfigTypeDef sMasterConfig = {0};

  htim2.Instance = TIM2;
  htim2.Init.Prescaler = 8000;
  htim2.Init.CounterMode = TIM_COUNTERMODE_UP;
  htim2.Init.Period = 1000-1;
  htim2.Init.ClockDivision = TIM_CLOCKDIVISION_DIV1;
  htim2.Init.AutoReloadPreload = TIM_AUTORELOAD_PRELOAD_DISABLE;
  if (HAL_TIM_Base_Init(&htim2) != HAL_OK)
  {
    Error_Handler();
  }
  sClockSourceConfig.ClockSource = TIM_CLOCKSOURCE_INTERNAL;
  if (HAL_TIM_ConfigClockSource(&htim2, &sClockSourceConfig) != HAL_OK)
  {
    Error_Handler();
  }
  sMasterConfig.MasterOutputTrigger = TIM_TRGO_UPDATE;
  sMasterConfig.MasterSlaveMode = TIM_MASTERSLAVEMODE_DISABLE;
  if (HAL_TIMEx_MasterConfigSynchronization(&htim2, &sMasterConfig) != HAL_OK)
  {
    Error_Handler();
  }

}

static void MX_DMA_Init(void)
{

  /* DMA controller clock enable */
  __HAL_RCC_DMA2_CLK_ENABLE();

  /* DMA interrupt init */
  /* DMA2_Stream0_IRQn interrupt configuration */
  HAL_NVIC_SetPriority(DMA2_Stream0_IRQn, 0, 0);
  HAL_NVIC_EnableIRQ(DMA2_Stream0_IRQn);

}

static void MX_GPIO_Init(void)
{
  GPIO_InitTypeDef GPIO_InitStruct = {0};

  /* GPIO Ports Clock Enable */
  __HAL_RCC_GPIOH_CLK_ENABLE();
  __HAL_RCC_GPIOC_CLK_ENABLE();
  __HAL_RCC_GPIOA_CLK_ENABLE();
  __HAL_RCC_GPIOB_CLK_ENABLE();

  /*Configure GPIO pin Output Level */
  HAL_GPIO_WritePin(nRST_DSP_GPIO_Port, nRST_DSP_Pin, GPIO_PIN_SET);

  /*Configure GPIO pin Output Level */
  HAL_GPIO_WritePin(GPIOB, PLL_MODE0_Pin|PLL_MODE1_Pin|EN_SCK_Pin, GPIO_PIN_RESET);

  /*Configure GPIO pin Output Level */
  HAL_GPIO_WritePin(GPIOA, CSEL_Pin|SR_Pin|FS2_Pin|FS1_Pin, GPIO_PIN_RESET);

  /*Configure GPIO pins : nRST_DSP_Pin PLL_MODE0_Pin PLL_MODE1_Pin EN_SCK_Pin */
  GPIO_InitStruct.Pin = nRST_DSP_Pin|PLL_MODE0_Pin|PLL_MODE1_Pin|EN_SCK_Pin;
  GPIO_InitStruct.Mode = GPIO_MODE_OUTPUT_OD;
  GPIO_InitStruct.Pull = GPIO_PULLUP;
  GPIO_InitStruct.Speed = GPIO_SPEED_FREQ_HIGH;
  HAL_GPIO_Init(GPIOB, &GPIO_InitStruct);

  /*Configure GPIO pins : CSEL_Pin SR_Pin FS2_Pin FS1_Pin */
  GPIO_InitStruct.Pin = CSEL_Pin|SR_Pin|FS2_Pin|FS1_Pin;
  GPIO_InitStruct.Mode = GPIO_MODE_OUTPUT_OD;
  GPIO_InitStruct.Pull = GPIO_PULLUP;
  GPIO_InitStruct.Speed = GPIO_SPEED_FREQ_HIGH;
  HAL_GPIO_Init(GPIOA, &GPIO_InitStruct);

  /*Configure GPIO pins : GPIO0_Pin GPIO1_Pin */
  GPIO_InitStruct.Pin = GPIO0_Pin|GPIO1_Pin;
  GPIO_InitStruct.Mode = GPIO_MODE_INPUT;
  GPIO_InitStruct.Pull = GPIO_PULLUP;
  HAL_GPIO_Init(GPIOC, &GPIO_InitStruct);

}

/* USER CODE BEGIN 4 */
void SIGMA_WRITE_REGISTER_BLOCK(uint16_t devAddress, uint16_t address, uint16_t length, uint8_t *pData)
{
	stat = HAL_I2C_Mem_Write(&hi2c1, devAddress, address, 2, pData, length, 1000);

}

void HAL_ADC_ConvCpltCallback(ADC_HandleTypeDef* hadc)
{
	uint32_t i = 0;
	uint32_t j = 0;

	for(i=0; i<30; i++) // For volume potentiometer
	{
		if((i == 0) && (value[ADC_POT-1] < (linear_in_table[i+1])-15))
		{
			if(pote[ADC_POT-1] != i)
			{
				pote[ADC_POT-1] = i;
				flag[ADC_POT-1] = 1;
			}
		}
		else if((i > 0) && (i < 29 ) && (value[ADC_POT-1] > (linear_in_table[i]+15)) && (value[ADC_POT-1] < (linear_in_table[i+1])-15))
		{
			if(pote[ADC_POT-1] != i)
			{
				pote[ADC_POT-1] = i;
				flag[ADC_POT-1] = 1;
			}
		}
		else if((i == 29) && (value[ADC_POT-1] > (linear_in_table[i]+15)))
		{
			if(pote[ADC_POT-1] != i)
			{
				pote[ADC_POT-1] = i;
				flag[ADC_POT-1] = 1;
			}
		}
	}

	for(j=0; j<(ADC_POT-1); j++) // For filter potentiometers
	{
		for(i=0; i<30; i++)
		{
			if((i == 0) && (value[j] < (log_in_table[i+1])-15))
			{
				if(pote[j] != i)
				{
					pote[j] = i;
					flag[j] = 1;
				}
			}
			else if((i > 0) && (i < 29 ) && (value[j] > (log_in_table[i]+15)) && (value[j] < (log_in_table[i+1])-15))
			{
				if(pote[j] != i)
				{
					pote[j] = i;
					flag[j] = 1;
				}
			}
			else if((i == 29) && (value[j] > (log_in_table[i]+15)))
			{
				if(pote[j] != i)
				{
					pote[j] = i;
					flag[j] = 1;
				}
			}
		}

	}
	HAL_ADC_Start_DMA(&hadc1, value, ADC_POT);
}
/* USER CODE END 4 */

void Error_Handler(void)
{
  __disable_irq();
  while (1)
  {
  }
}

/************************ (C) COPYRIGHT STMicroelectronics *****END OF FILE****/
